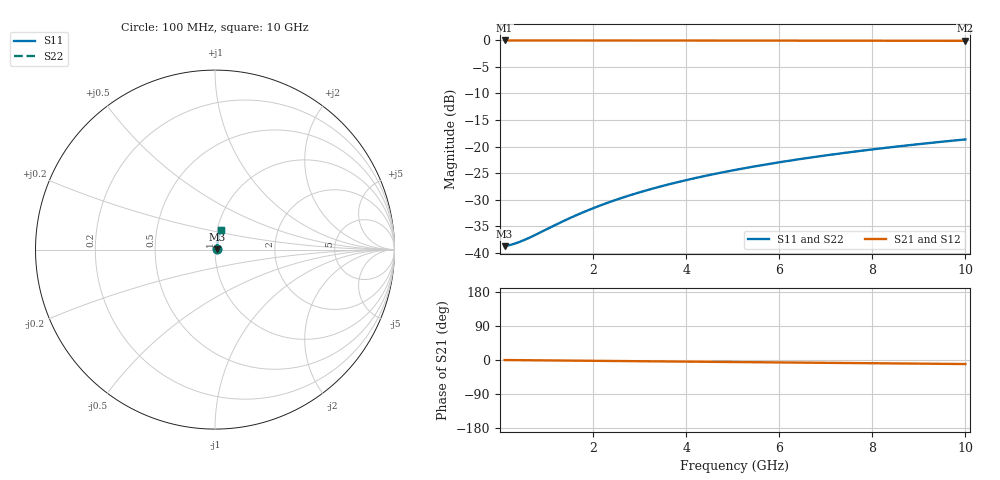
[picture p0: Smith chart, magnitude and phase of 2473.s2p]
# Hz S RI R 50.00
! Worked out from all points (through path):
!   100 points, 100 MHz to 10 GHz, reference 50 ohm
!   highest |S21| = -0.10 dB at 100 MHz (marker M1); lowest = -0.2 dB at 10 GHz (marker M2)
!   group delay of S21, straight-line fit = 2.95 ps
!   lowest |S11| = -38.7 dB at 100 MHz (marker M3), VSWR 1.02, Z = 51.2 + j0.118 ohm
!   |S11| at or under -10 dB: start of sweep to end of sweep
!   |S22| runs from -38.7 to -18.7 dB; largest |S21 - S12| = 0
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1e8  0.0116 0.00115  0.9884 -0.00184  0.9884 -0.00184  0.0116 0.00115
2e8  0.0116 0.0023  0.9884 -0.00368  0.9884 -0.00368  0.0116 0.0023
3e8  0.0117 0.00345  0.9883 -0.00553  0.9883 -0.00553  0.0117 0.00345
4e8  0.0118 0.0046  0.9882 -0.00737  0.9882 -0.00737  0.0118 0.0046
5e8  0.0118 0.00575  0.9882 -0.00921  0.9882 -0.00921  0.0118 0.00575
7e8  0.0119 0.00804  0.988 -0.0129  0.988 -0.0129  0.0119 0.00804
1.4e9  0.0124 0.0161  0.9875 -0.0258  0.9875 -0.0258  0.0124 0.0161
1.8e9  0.0127 0.0207  0.9872 -0.0331  0.9872 -0.0331  0.0127 0.0207
2.2e9  0.0131 0.0252  0.9867 -0.0405  0.9867 -0.0405  0.0131 0.0252
2.6e9  0.0136 0.0298  0.9862 -0.0478  0.9862 -0.0478  0.0136 0.0298
3e9  0.0141 0.0344  0.9856 -0.0551  0.9856 -0.0551  0.0141 0.0344
3.4e9  0.0147 0.0389  0.985 -0.0625  0.985 -0.0625  0.0147 0.0389
3.8e9  0.0154 0.0435  0.9843 -0.0698  0.9843 -0.0698  0.0154 0.0435
4.2e9  0.0161 0.048  0.9835 -0.0771  0.9835 -0.0771  0.0161 0.048
4.6e9  0.0169 0.0525  0.9826 -0.0844  0.9826 -0.0844  0.0169 0.0525
5.1e9  0.018 0.0581  0.9814 -0.0934  0.9814 -0.0934  0.018 0.0581
5.9e9  0.0199 0.0671  0.9792 -0.1079  0.9792 -0.1079  0.0199 0.0671
6.7e9  0.0221 0.0759  0.9768 -0.1223  0.9768 -0.1223  0.0221 0.0759
7.5e9  0.0245 0.0847  0.9741 -0.1367  0.9741 -0.1367  0.0245 0.0847
8.4e9  0.0276 0.0945  0.9707 -0.1527  0.9707 -0.1527  0.0276 0.0945
9.2e9  0.0306 0.1031  0.9673 -0.1668  0.9673 -0.1668  0.0306 0.1031
1e10  0.0338 0.1116  0.9637 -0.1809  0.9637 -0.1809  0.0338 0.1116
